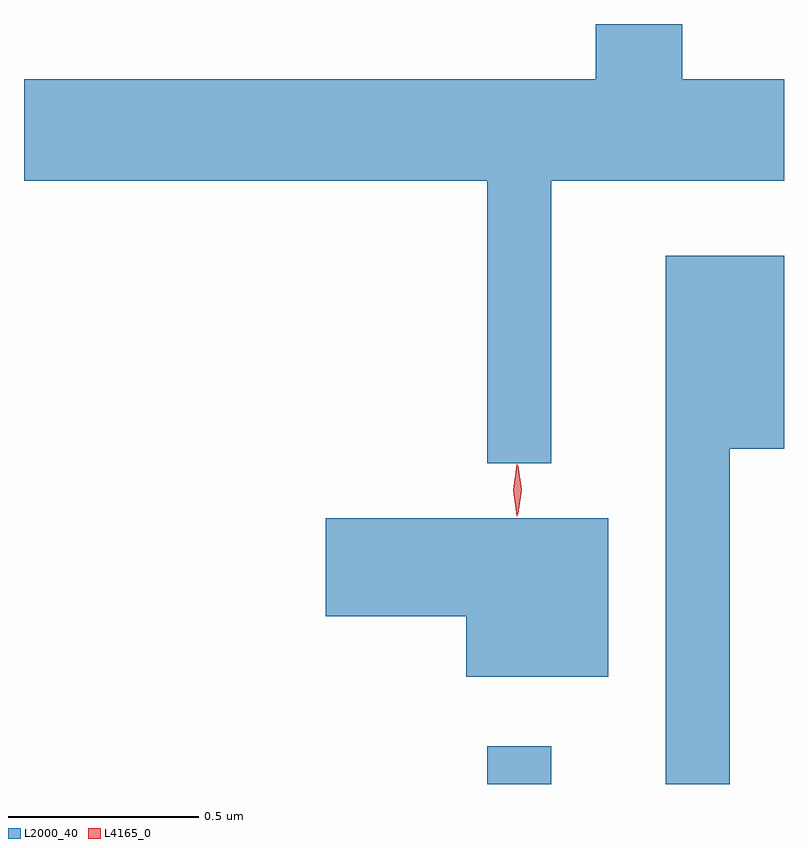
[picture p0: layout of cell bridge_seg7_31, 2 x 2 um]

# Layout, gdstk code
import gdstk
lib = gdstk.Library(unit=1e-6, precision=1e-09)
def R(c, l, rs):  # rectangles x0, y0, x1, y1
    for r in rs: c.add(gdstk.rectangle(r[:2], r[2:], *l))
def P(c, l, *ps):  # polygons
    for p in ps: c.add(gdstk.Polygon(p, *l))
L2000_40 = (2000, 40)
L4165_0 = (4165, 0)

bridge_seg7_31 = lib.new_cell('bridge_seg7_31')
R(bridge_seg7_31, L2000_40, [(1743.081,1743.809,1743.249,1743.908)])
P(bridge_seg7_31, L2000_40, [(1743.249,1745.396),(1743.862,1745.396),(1743.862,1745.664),(1743.594,1745.664),(1743.594,1745.809),(1743.366,1745.809),(1743.366,1745.664),(1741.862,1745.664),(1741.862,1745.396),(1743.081,1745.396),(1743.081,1744.653),(1743.249,1744.653)],
  [(1743.719,1744.691),(1743.862,1744.691),(1743.862,1745.199),(1743.551,1745.199),(1743.551,1743.809),(1743.719,1743.809)],
  [(1743.399,1744.509),(1742.656,1744.509),(1742.656,1744.251),(1743.026,1744.251),(1743.026,1744.091),(1743.399,1744.091)])
P(bridge_seg7_31, L4165_0, [(1743.159,1744.514),(1743.159,1744.514),(1743.149,1744.582),(1743.159,1744.65),(1743.159,1744.65),(1743.16,1744.65),(1743.169,1744.582),(1743.16,1744.514)],
  [(1743.162,1744.52),(1743.162,1744.52),(1743.152,1744.583),(1743.162,1744.646),(1743.162,1744.647),(1743.163,1744.646),(1743.172,1744.583),(1743.163,1744.52)])

lib.write_gds('bridge_seg7_31.gds')
